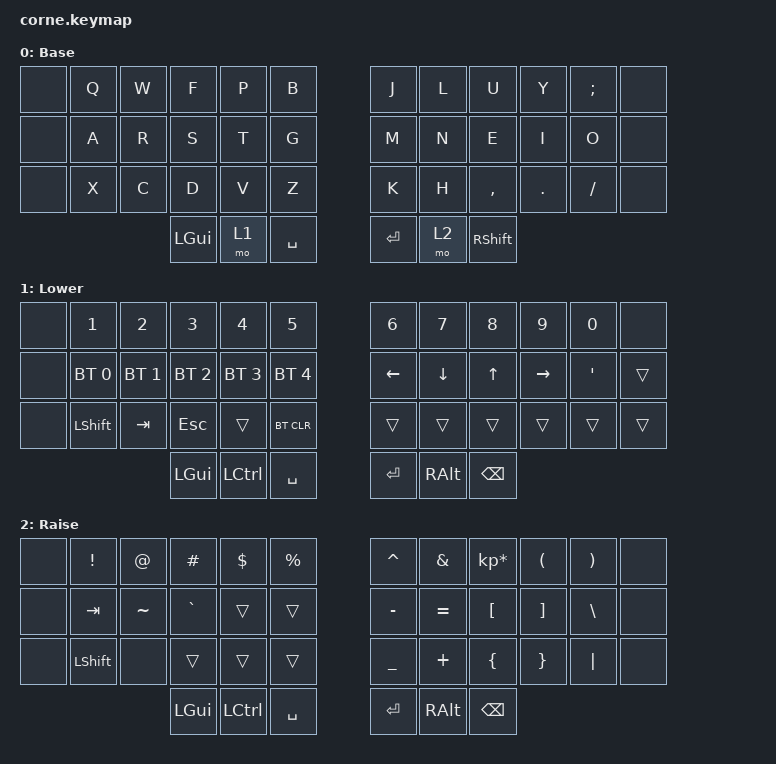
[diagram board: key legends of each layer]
/*
 * Copyright (c) 2020 The ZMK Contributors
 *
 * SPDX-License-Identifier: MIT
 */

#include <behaviors.dtsi>
#include <dt-bindings/zmk/bt.h>
#include <dt-bindings/zmk/keys.h>

/ {
    keymap {
        compatible = "zmk,keymap";

        default_layer {
            // -----------------------------------------------------------------------------------------
            // |  TAB |  Q  |  W  |  E  |  R  |  T  |   |  Y  |  U   |  I  |  O  |  P  | BKSP |
            // | CTRL |  A  |  S  |  D  |  F  |  G  |   |  H  |  J   |  K  |  L  |  ;  |  '   |
            // | SHFT |  Z  |  X  |  C  |  V  |  B  |   |  N  |  M   |  ,  |  .  |  /  | ESC  |
            //                    | GUI | LWR | SPC |   | ENT | RSE  | ALT |

            label = "Base";
            bindings = <
&none  &kp Q  &kp W  &kp F     &kp P  &kp B        &kp J    &kp L  &kp U       &kp Y    &kp SEMICOLON  &none
&none  &kp A  &kp R  &kp S     &kp T  &kp G        &kp M    &kp N  &kp E       &kp I    &kp O          &none
&none  &kp X  &kp C  &kp D     &kp V  &kp Z        &kp K    &kp H  &kp COMMA   &kp DOT  &kp FSLH       &none
                     &kp LGUI  &mo 1  &kp SPACE    &kp RET  &mo 2  &kp RSHIFT
            >;
        };

        lower_layer {
            // -----------------------------------------------------------------------------------------
            // |  TAB |  1  |  2  |  3  |  4  |  5  |   |  6  |  7  |  8  |  9  |  0  | BKSP |
            // | BTCLR| BT1 | BT2 | BT3 | BT4 | BT5 |   | LFT | DWN |  UP | RGT |     |      |
            // | SHFT |     |     |     |     |     |   |     |     |     |     |     |      |
            //                    | GUI |     | SPC |   | ENT |     | ALT |

            label = "Lower";
            bindings = <
&none  &kp N1        &kp N2        &kp N3        &kp N4            &kp N5          &kp N6    &kp N7         &kp N8         &kp N9     &kp N0            &none
&none  &bt BT_SEL 0  &bt BT_SEL 1  &bt BT_SEL 2  &bt BT_SEL 3      &bt BT_SEL 4    &kp LEFT  &kp DOWN       &kp UP         &kp RIGHT  &kp SINGLE_QUOTE  &trans
&none  &kp LSHIFT    &kp TAB       &kp ESC       &trans            &bt BT_CLR      &trans    &trans         &trans         &trans     &trans            &trans
                                   &kp LEFT_GUI  &kp LEFT_CONTROL  &kp SPACE       &kp RET   &kp RIGHT_ALT  &kp BACKSPACE
            >;
        };

        raise_layer {
            // -----------------------------------------------------------------------------------------
            // |  TAB |  !  |  @  |  #  |  $  |  %  |   |  ^  |  &  |  *  |  (  |  )  | BKSP |
            // | CTRL |     |     |     |     |     |   |  -  |  =  |  [  |  ]  |  \  |  `   |
            // | SHFT |     |     |     |     |     |   |  _  |  +  |  {  |  }  | "|" |  ~   |
            //                    | GUI |     | SPC |   | ENT |     | ALT |

            label = "Raise";
            bindings = <
&none  &kp EXCL        &kp AT     &kp HASH   &kp DLLR          &kp PRCNT    &kp CARET  &kp AMPS       &kp KP_MULTIPLY  &kp LPAR  &kp RPAR  &none
&none  &kp TAB         &kp TILDE  &kp GRAVE  &trans            &trans       &kp MINUS  &kp EQUAL      &kp LBKT         &kp RBKT  &kp BSLH  &none
&none  &kp LEFT_SHIFT  &none      &trans     &trans            &trans       &kp UNDER  &kp PLUS       &kp LBRC         &kp RBRC  &kp PIPE  &none
                                  &kp LGUI   &kp LEFT_CONTROL  &kp SPACE    &kp RET    &kp RIGHT_ALT  &kp BACKSPACE
            >;
        };
    };
};
